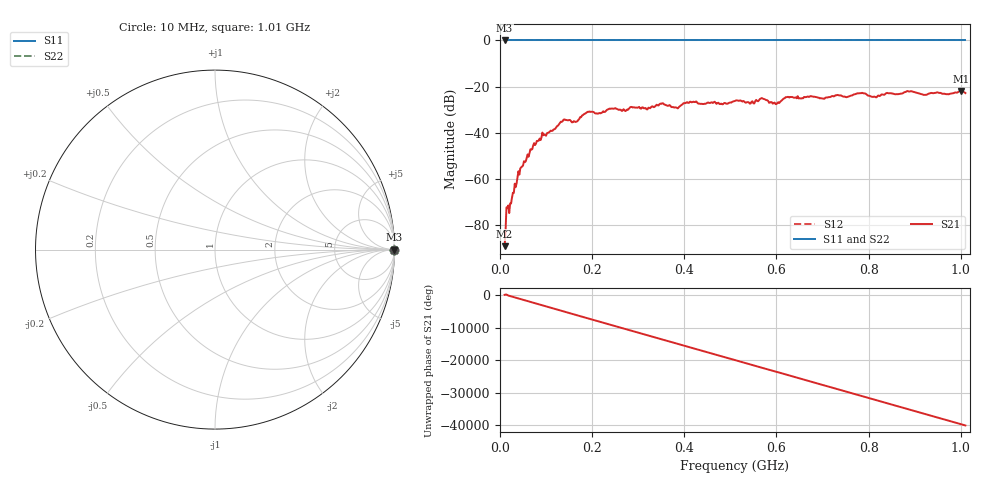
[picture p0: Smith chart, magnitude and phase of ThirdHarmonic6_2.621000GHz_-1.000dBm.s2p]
! 8/17/2025 5:48:08 AM
! C:\ANRITSUVNA\TEMP\TEMP.S2P
! CHANNEL.1
! TR.MEASUREMENT
! RAW.DATA
! RF.CORRECTION.OFF
! AVERAGING.OFF
! IF.BANDWIDTH: 5KHZ
! SWEEPTYPE:  FREQ.SWEEP(Linear)
! Reference Plane Port Info
! PORT:  PORT1  PORT2
! DISTANCE:  0  m  0  m
! TIME:  0  s  0  s
! PHASE.OFFSET:  0  deg.  0  deg.
! LOSS:  0  dB  0  dB
! REF.LOSS:  0  dB  0  dB
! REF.FREQ:  0  Hz  0  Hz
! Power Info
! POWER:  -20  dBm  -20  dBm
! EFF.POWER:  -20  dBm  -20  dBm
! SOURCE.ATTEN:  0  dB  0  dB
! TEST.ATTEN:  0  dB  0  dB
# GHZ S RI R 50.0
! FREQ.GHZ  S11RE  S11IM  S21RE  S21IM  S12RE  S12IM  S22RE  S22IM
!; PortSelection: Port_12
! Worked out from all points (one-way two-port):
!   501 points, 10 MHz to 1.01 GHz, reference 50 ohm
!   highest |S21| = -21.84 dB at 1 GHz (marker M1); lowest = -89.1 dB at 10 MHz (marker M2)
!   lowest |S11| = 0.0 dB at 10 MHz (marker M3)
!   |S11| at or under -10 dB: nowhere
!   |S22| runs from 0.0 to 0.0 dB; largest |S21 - S12| = 1.1
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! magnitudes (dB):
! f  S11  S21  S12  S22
! 10 MHz  0.0  -89.1  0.0  0.0
! 42 MHz  0.0  -58.1  0.0  0.0
! 70 MHz  0.0  -47.1  0.0  0.0
! 136 MHz  0.0  -35.0  0.0  0.0
! 164 MHz  0.0  -35.3  0.0  0.0
! 178 MHz  0.0  -32.6  0.0  0.0
! 240 MHz  0.0  -29.6  0.0  0.0
! 322 MHz  0.0  -29.1  0.0  0.0
! 344 MHz  0.0  -28.2  0.0  0.0
! 382 MHz  0.0  -29.0  0.0  0.0
! 416 MHz  0.0  -26.8  0.0  0.0
! 510 MHz  0.0  -26.2  0.0  0.0
! 548 MHz  0.0  -26.4  0.0  0.0
! 570 MHz  0.0  -25.2  0.0  0.0
! 596 MHz  0.0  -26.9  0.0  0.0
! 622 MHz  0.0  -24.6  0.0  0.0
! 678 MHz  0.0  -24.3  0.0  0.0
! 784 MHz  0.0  -22.9  0.0  0.0
! 814 MHz  0.0  -24.4  0.0  0.0
! 844 MHz  0.0  -22.9  0.0  0.0
! 1 GHz  0.0  -21.8  0.0  0.0
! 1.01 GHz  0.0  -22.8  0.0  0.0
